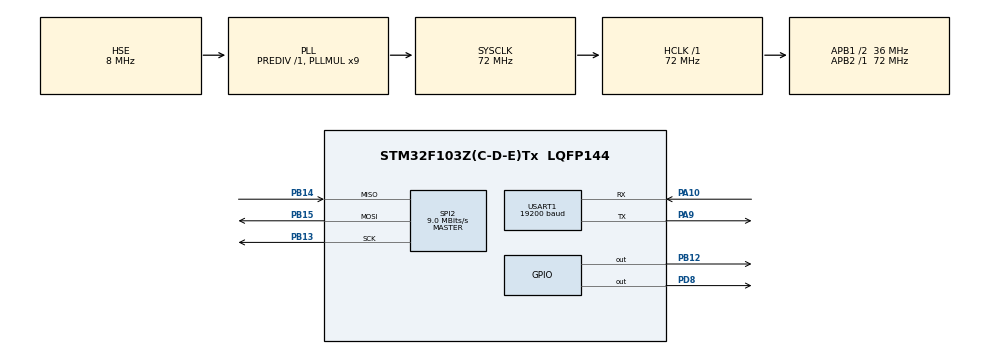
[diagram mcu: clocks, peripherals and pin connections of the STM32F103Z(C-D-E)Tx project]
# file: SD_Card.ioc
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FATFS._MAX_SS=4096
FATFS._USE_LFN=1
Mcu.Family=STM32F1
Mcu.Name=STM32F103Z(C-D-E)Tx
Mcu.Package=LQFP144
NVIC.PriorityGroup=NVIC_PRIORITYGROUP_4
NVIC.TIM2_IRQn=true\:0\:0\:false\:false\:true
NVIC.USART1_IRQn=true\:0\:0\:false\:false\:true
OSC_IN.Mode=HSE-External-Oscillator
OSC_IN.Signal=RCC_OSC_IN
OSC_OUT.Mode=HSE-External-Oscillator
OSC_OUT.Signal=RCC_OSC_OUT
PA10.Mode=Asynchronous
PA10.Signal=USART1_RX
PA9.Mode=Asynchronous
PA9.Signal=USART1_TX
PB12.Signal=GPIO_Output
PB13.Mode=Full_Duplex_Master
PB13.Signal=SPI2_SCK
PB14.Mode=Full_Duplex_Master
PB14.Signal=SPI2_MISO
PB15.Mode=Full_Duplex_Master
PB15.Signal=SPI2_MOSI
PD8.Signal=GPIO_Output
ProjectManager.HeapSize=0x200
ProjectManager.StackSize=0x400
ProjectManager.TargetToolchain=MDK-ARM V5
RCC.AHBFreq_Value=72000000
RCC.APB1CLKDivider=RCC_HCLK_DIV2
RCC.APB1Freq_Value=36000000
RCC.APB1TimFreq_Value=72000000
RCC.APB2Freq_Value=72000000
RCC.APB2TimFreq_Value=72000000
RCC.HCLKFreq_Value=72000000
RCC.HSIState=RCC_HSI_ON
RCC.PLLMUL=RCC_PLL_MUL9
RCC.PLLSourceVirtual=RCC_PLLSOURCE_HSE
RCC.SYSCLKFreq_VALUE=72000000
RCC.SYSCLKSource=RCC_SYSCLKSOURCE_PLLCLK
RCC.USBFreq_Value=72000000
SPI2.BaudRatePrescaler=SPI_BAUDRATEPRESCALER_4
SPI2.CalculateBaudRate=9.0 MBits/s
SPI2.Mode=SPI_MODE_MASTER
TIM2.Period=9999
TIM2.Prescaler=32000
USART1.BaudRate=19200
VP_FATFS_VS_Generic.Mode=User_defined
VP_TIM2_VS_ClockSourceINT.Mode=Internal
board=SD_Card

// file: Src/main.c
/**
  ******************************************************************************
  * File Name          : main.c
  * Description        : Main program body
  ******************************************************************************
  *
  * COPYRIGHT(c) 2018 STMicroelectronics
  *
  * Redistribution and use in source and binary forms, with or without modification,
  * are permitted provided that the following conditions are met:
  *   1. Redistributions of source code must retain the above copyright notice,
  *      this list of conditions and the following disclaimer.
  *   2. Redistributions in binary form must reproduce the above copyright notice,
  *      this list of conditions and the following disclaimer in the documentation
  *      and/or other materials provided with the distribution.
  *   3. Neither the name of STMicroelectronics nor the names of its contributors
  *      may be used to endorse or promote products derived from this software
  *      without specific prior written permission.
  *
  * THIS SOFTWARE IS PROVIDED BY THE COPYRIGHT HOLDERS AND CONTRIBUTORS "AS IS"
  * AND ANY EXPRESS OR IMPLIED WARRANTIES, INCLUDING, BUT NOT LIMITED TO, THE
  * IMPLIED WARRANTIES OF MERCHANTABILITY AND FITNESS FOR A PARTICULAR PURPOSE ARE
  * DISCLAIMED. IN NO EVENT SHALL THE COPYRIGHT HOLDER OR CONTRIBUTORS BE LIABLE
  * FOR ANY DIRECT, INDIRECT, INCIDENTAL, SPECIAL, EXEMPLARY, OR CONSEQUENTIAL
  * DAMAGES (INCLUDING, BUT NOT LIMITED TO, PROCUREMENT OF SUBSTITUTE GOODS OR
  * SERVICES; LOSS OF USE, DATA, OR PROFITS; OR BUSINESS INTERRUPTION) HOWEVER
  * CAUSED AND ON ANY THEORY OF LIABILITY, WHETHER IN CONTRACT, STRICT LIABILITY,
  * OR TORT (INCLUDING NEGLIGENCE OR OTHERWISE) ARISING IN ANY WAY OUT OF THE USE
  * OF THIS SOFTWARE, EVEN IF ADVISED OF THE POSSIBILITY OF SUCH DAMAGE.
  *
  ******************************************************************************
  */
#include "stm32f1xx_hal.h"
#include "fatfs.h"

/* USER CODE BEGIN Includes */
#include "SD.h"
#include "stdio.h"
/* USER CODE END Includes */

SPI_HandleTypeDef hspi2;

TIM_HandleTypeDef htim2;

UART_HandleTypeDef huart1;

/* USER CODE BEGIN PV */
/* Private variables ---------------------------------------------------------*/
volatile uint16_t Timer1=0;
uint8_t sect[512];
uint32_t byteswritten,bytesread;
uint8_t result;
extern char USER_Path[4]; /* logical drive path */
FATFS SDFatFs;
FATFS *fs;
FIL MyFile;
FILE *fp;

uint16_t i;
FRESULT res;
uint8_t wtext[]="NHAN!!\r\n";
uint8_t wtext1[]="\r\n\r\n";
char *name1="nhan.txt";
char *name2="nhan123.txt";
FILINFO fileInfo;
char *fn;
DIR dir;
DWORD fre_clust, fre_sect, tot_sect;
uint8_t count;
char a[1000];
char *final_string;
uint8_t *add;
char Rx_indx;
char Rx_data[1];
char	Rx_Buffer[100];
char* buf="hello";
uint8_t tam;
/* USER CODE END PV */

void SystemClock_Config(void);
static void MX_GPIO_Init(void);
static void MX_SPI2_Init(void);
static void MX_TIM2_Init(void);
static void MX_USART1_UART_Init(void);

/* USER CODE BEGIN PFP */
/* Private function prototypes -----------------------------------------------*/
void Error_Handler(void);
void _Error_Handler(char * file, int line);
//void noichuoi(char *name, void *buff);
FRESULT ReadLongFile(void);
void Read_SD(char *name);
void Write_SD(char *name,void *buff);
void Write_SDcard(char *name, void *buff);
//void Write_SDcard(char *name, uint8_t data);
void Read_SDcard(char *name);
void noichuoi(char *name,uint8_t data);
void Write(char *name, void *buff);
/* USER CODE END PFP */

/* USER CODE BEGIN 0 */
FRESULT ReadLongFile(void)
{
  uint16_t i1=0;
  uint32_t ind=0;
  uint32_t f_size = MyFile.fsize;
  ind=0;
  do
  {
    if(f_size<512)
    {
      i1=f_size;
    }
    else
    {
      i1=512;
    }
    f_size-=i1;
    f_lseek(&MyFile,ind);
    f_read(&MyFile,sect,i1,(UINT *)&bytesread);
    ind+=i1;
  }
  while(f_size>0);
  return FR_OK;
}
void Write_SDcard(char *name, void *buff)
{
	res=f_mount(&SDFatFs,(TCHAR const*)USER_Path,0);
	res=f_open(&MyFile,name,FA_OPEN_ALWAYS|FA_WRITE);
	f_lseek(&MyFile,f_size(&MyFile));
	f_printf(&MyFile,buff);
	f_close(&MyFile);
}
void Write(char *name, void *buff)
{
	res=f_open(&MyFile,name,FA_OPEN_ALWAYS|FA_WRITE);
	f_lseek(&MyFile,f_size(&MyFile));
	f_printf(&MyFile,buff);
	f_close(&MyFile);
}
void noichuoi(char *name, uint8_t data)
{
	res=f_open(&MyFile,name,FA_OPEN_ALWAYS|FA_WRITE);
	f_lseek(&MyFile,f_size(&MyFile));
	f_printf(&MyFile,"%d\r\n",data);
	f_close(&MyFile);
}
void Read_SDcard(char *name)
{
	res=f_mount(&SDFatFs,(TCHAR const*)USER_Path,0);
	res=f_open(&MyFile,name,FA_OPEN_ALWAYS|FA_READ);
	res=f_read(&MyFile,a,sizeof(a),(void*)&bytesread);
	f_close(&MyFile);
}
void HAL_TIM_PeriodElapsedCallback(TIM_HandleTypeDef *htim)
{
	if(htim==&htim2)
	{
		Timer1++;
		count++;
	}
}
void HAL_UART_RxCpltCallback(UART_HandleTypeDef *huart)
{
		if (huart->Instance == huart1.Instance)                                                    //current UART
		{
				if (Rx_indx==0)
				{
						for (uint8_t i=0;i<100;i++) Rx_Buffer[i]=0;                                        //clear Rx_Buffer before receiving new data
				}

				if (Rx_data[0]!='\n')                                                                  //if received data different from ascii 13 (enter)
				{
						Rx_Buffer[Rx_indx++]=Rx_data[0];                            											 //add data to Rx_Buffer
				}
				else                                                                                   //if received data = 13
				{
						Rx_indx=0;
						tam++;
				}
				HAL_UART_Receive_IT(&huart1,(uint8_t *)Rx_data, 1);                                    //activate UART receive interrupt every time
		}
}
/* USER CODE END 0 */

int main(void)
{

  /* MCU Configuration----------------------------------------------------------*/

  /* Reset of all peripherals, Initializes the Flash interface and the Systick. */
  HAL_Init();

  /* Configure the system clock */
  SystemClock_Config();

  /* Initialize all configured peripherals */
  MX_GPIO_Init();
  MX_SPI2_Init();
  MX_TIM2_Init();
  MX_FATFS_Init();
  MX_USART1_UART_Init();

  /* USER CODE BEGIN 2 */
	__HAL_UART_ENABLE_IT(&huart1,UART_IT_RXNE);
	__HAL_UART_ENABLE_IT(&huart1,UART_IT_TC);
		HAL_UART_Receive_IT(&huart1,(uint8_t *)Rx_data, 1);
	HAL_UART_Transmit_IT(&huart1,(uint8_t *)Rx_Buffer,sizeof(Rx_Buffer));
	HAL_TIM_Base_Start_IT(&htim2);
	SD_PowerOn(); // CHO 20ms
	sd_ini();
  /* USER CODE END 2 */

  /* Infinite loop */
  /* USER CODE BEGIN WHILE */
  while (1)
  {
		if(tam==1)
		{
				Write(name1,Rx_Buffer);
				Read_SDcard(name1);
				HAL_UART_Transmit_IT(&huart1,(uint8_t *)a,sizeof(a));
				tam--;
		}
  /* USER CODE END WHILE */

  }

}

/** System Clock Configuration
*/
void SystemClock_Config(void)
{

  RCC_OscInitTypeDef RCC_OscInitStruct;
  RCC_ClkInitTypeDef RCC_ClkInitStruct;

  RCC_OscInitStruct.OscillatorType = RCC_OSCILLATORTYPE_HSE;
  RCC_OscInitStruct.HSEState = RCC_HSE_ON;
  RCC_OscInitStruct.HSEPredivValue = RCC_HSE_PREDIV_DIV1;
  RCC_OscInitStruct.PLL.PLLState = RCC_PLL_ON;
  RCC_OscInitStruct.PLL.PLLSource = RCC_PLLSOURCE_HSE;
  RCC_OscInitStruct.PLL.PLLMUL = RCC_PLL_MUL9;
  HAL_RCC_OscConfig(&RCC_OscInitStruct);

  RCC_ClkInitStruct.ClockType = RCC_CLOCKTYPE_HCLK|RCC_CLOCKTYPE_SYSCLK
                              |RCC_CLOCKTYPE_PCLK1|RCC_CLOCKTYPE_PCLK2;
  RCC_ClkInitStruct.SYSCLKSource = RCC_SYSCLKSOURCE_PLLCLK;
  RCC_ClkInitStruct.AHBCLKDivider = RCC_SYSCLK_DIV1;
  RCC_ClkInitStruct.APB1CLKDivider = RCC_HCLK_DIV2;
  RCC_ClkInitStruct.APB2CLKDivider = RCC_HCLK_DIV1;
  HAL_RCC_ClockConfig(&RCC_ClkInitStruct, FLASH_LATENCY_2);

  HAL_SYSTICK_Config(HAL_RCC_GetHCLKFreq()/1000);

  HAL_SYSTICK_CLKSourceConfig(SYSTICK_CLKSOURCE_HCLK);

  /* SysTick_IRQn interrupt configuration */
  HAL_NVIC_SetPriority(SysTick_IRQn, 0, 0);
}

/* SPI2 init function */
void MX_SPI2_Init(void)
{

  hspi2.Instance = SPI2;
  hspi2.Init.Mode = SPI_MODE_MASTER;
  hspi2.Init.Direction = SPI_DIRECTION_2LINES;
  hspi2.Init.DataSize = SPI_DATASIZE_8BIT;
  hspi2.Init.CLKPolarity = SPI_POLARITY_LOW;
  hspi2.Init.CLKPhase = SPI_PHASE_1EDGE;
  hspi2.Init.NSS = SPI_NSS_SOFT;
  hspi2.Init.BaudRatePrescaler = SPI_BAUDRATEPRESCALER_4;
  hspi2.Init.FirstBit = SPI_FIRSTBIT_MSB;
  hspi2.Init.TIMode = SPI_TIMODE_DISABLE;
  hspi2.Init.CRCCalculation = SPI_CRCCALCULATION_DISABLE;
  hspi2.Init.CRCPolynomial = 10;
  HAL_SPI_Init(&hspi2);

}

/* TIM2 init function */
void MX_TIM2_Init(void)
{

  TIM_ClockConfigTypeDef sClockSourceConfig;
  TIM_MasterConfigTypeDef sMasterConfig;

  htim2.Instance = TIM2;
  htim2.Init.Prescaler = 32000;
  htim2.Init.CounterMode = TIM_COUNTERMODE_UP;
  htim2.Init.Period = 9999;
  htim2.Init.ClockDivision = TIM_CLOCKDIVISION_DIV1;
  HAL_TIM_Base_Init(&htim2);

  sClockSourceConfig.ClockSource = TIM_CLOCKSOURCE_INTERNAL;
  HAL_TIM_ConfigClockSource(&htim2, &sClockSourceConfig);

  sMasterConfig.MasterOutputTrigger = TIM_TRGO_RESET;
  sMasterConfig.MasterSlaveMode = TIM_MASTERSLAVEMODE_DISABLE;
  HAL_TIMEx_MasterConfigSynchronization(&htim2, &sMasterConfig);

}

/* USART1 init function */
void MX_USART1_UART_Init(void)
{

  huart1.Instance = USART1;
  huart1.Init.BaudRate = 19200;
  huart1.Init.WordLength = UART_WORDLENGTH_8B;
  huart1.Init.StopBits = UART_STOPBITS_1;
  huart1.Init.Parity = UART_PARITY_NONE;
  huart1.Init.Mode = UART_MODE_TX_RX;
  huart1.Init.HwFlowCtl = UART_HWCONTROL_NONE;
  huart1.Init.OverSampling = UART_OVERSAMPLING_16;
  HAL_UART_Init(&huart1);

}

/** Configure pins as
        * Analog
        * Input
        * Output
        * EVENT_OUT
        * EXTI
*/
void MX_GPIO_Init(void)
{

  GPIO_InitTypeDef GPIO_InitStruct;

  /* GPIO Ports Clock Enable */
  __HAL_RCC_GPIOB_CLK_ENABLE();
  __HAL_RCC_GPIOD_CLK_ENABLE();
  __HAL_RCC_GPIOA_CLK_ENABLE();

  /*Configure GPIO pin Output Level */
  HAL_GPIO_WritePin(GPIOB, GPIO_PIN_12, GPIO_PIN_RESET);

  /*Configure GPIO pin Output Level */
  HAL_GPIO_WritePin(GPIOD, GPIO_PIN_8, GPIO_PIN_RESET);

  /*Configure GPIO pin : PB12 */
  GPIO_InitStruct.Pin = GPIO_PIN_12;
  GPIO_InitStruct.Mode = GPIO_MODE_OUTPUT_PP;
  GPIO_InitStruct.Speed = GPIO_SPEED_FREQ_LOW;
  HAL_GPIO_Init(GPIOB, &GPIO_InitStruct);

  /*Configure GPIO pin : PD8 */
  GPIO_InitStruct.Pin = GPIO_PIN_8;
  GPIO_InitStruct.Mode = GPIO_MODE_OUTPUT_PP;
  GPIO_InitStruct.Speed = GPIO_SPEED_FREQ_LOW;
  HAL_GPIO_Init(GPIOD, &GPIO_InitStruct);

}

/* USER CODE BEGIN 4 */
void _Error_Handler(char * file, int line)
{
  /* USER CODE BEGIN Error_Handler_Debug */
  /* User can add his own implementation to report the HAL error return state */
  while(1)
  {
  }
  /* USER CODE END Error_Handler_Debug */
}
void Error_Handler(void)
{
	while (1);
}
/* USER CODE END 4 */

/************************ (C) COPYRIGHT STMicroelectronics *****END OF FILE****/
